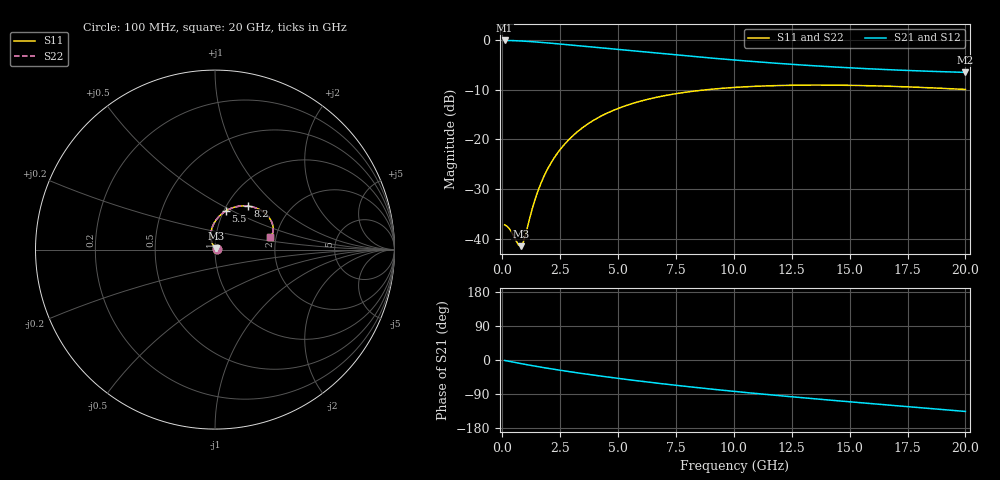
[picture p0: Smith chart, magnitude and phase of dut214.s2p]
! Created with skrf 1.9.0 (http://scikit-rf.org).
# GHz S RI R 50.0
!freq ReS11 ImS11 ReS21 ImS21 ReS12 ImS12 ReS22 ImS22
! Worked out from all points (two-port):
!   200 points, 100 MHz to 20 GHz, reference 50 ohm
!   highest |S21| = -0.12 dB at 100 MHz (marker M1); lowest = -6.5 dB at 20 GHz (marker M2)
!   |S21| within 3 dB of the highest: start of sweep to 7.738 GHz
!   lowest |S11| = -41.4 dB at 800 MHz (marker M3), VSWR 1.02, Z = 50.5 + j0.703 ohm
!   |S11| at or under -10 dB: start of sweep to 8.862 GHz
!   |S22| runs from -41.4 to -9.1 dB; largest |S21 - S12| = 2.2e-15
!   S11 on the Smith chart (normalised r, x): 100 MHz: 1.03, +0.00; 5.5 GHz: 1.02, +0.47; 8.2 GHz: 1.25, +0.67; 20 GHz: 1.86, +0.30
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0.1  0.0139 0.000615  0.9856 -0.0207  0.9856 -0.0207  0.0139 0.000615
0.3  0.0126 0.00154  0.9823 -0.0615  0.9823 -0.0615  0.0126 0.00154
0.7  0.00682 0.00541  0.9669 -0.1405  0.9669 -0.1405  0.00682 0.00541
0.8  0.00482 0.00697  0.9614 -0.1594  0.9614 -0.1594  0.00482 0.00697
0.9  0.00268 0.00881  0.9552 -0.178  0.9552 -0.178  0.00268 0.00881
1  0.000428 0.0109  0.9485 -0.1961  0.9485 -0.1961  0.000428 0.0109
1.3  -0.00659 0.0192  0.9256 -0.2477  0.9256 -0.2477  -0.00659 0.0192
1.5  -0.0111 0.0263  0.9084 -0.2798  0.9084 -0.2798  -0.0111 0.0263
1.7  -0.0152 0.0345  0.8899 -0.31  0.8899 -0.31  -0.0152 0.0345
1.9  -0.0186 0.0438  0.8704 -0.3384  0.8704 -0.3384  -0.0186 0.0438
2.2  -0.0222 0.0591  0.8398 -0.3776  0.8398 -0.3776  -0.0222 0.0591
2.6  -0.0235 0.0813  0.7972 -0.4242  0.7972 -0.4242  -0.0235 0.0813
3  -0.0209 0.1043  0.7534 -0.465  0.7534 -0.465  -0.0209 0.1043
3.5  -0.0122 0.1324  0.6978 -0.5087  0.6978 -0.5087  -0.0122 0.1324
4.4  0.0154 0.1771  0.5972 -0.5697  0.5972 -0.5697  0.0154 0.1771
5.5  0.0619 0.2162  0.4771 -0.618  0.4771 -0.618  0.0619 0.2162
6.8  0.1223 0.2397  0.3443 -0.645  0.3443 -0.645  0.1223 0.2397
8.2  0.1828 0.2427  0.217 -0.6469  0.217 -0.6469  0.1828 0.2427
10.1  0.2479 0.2232  0.0724 -0.6208  0.0724 -0.6208  0.2479 0.2232
13.4  0.3106 0.1643  -0.1135 -0.5382  -0.1135 -0.5382  0.3106 0.1643
16.7  0.3243 0.1082  -0.2432 -0.4383  -0.2432 -0.4383  0.3243 0.1082
20  0.3092 0.0723  -0.3374 -0.3286  -0.3374 -0.3286  0.3092 0.0723
